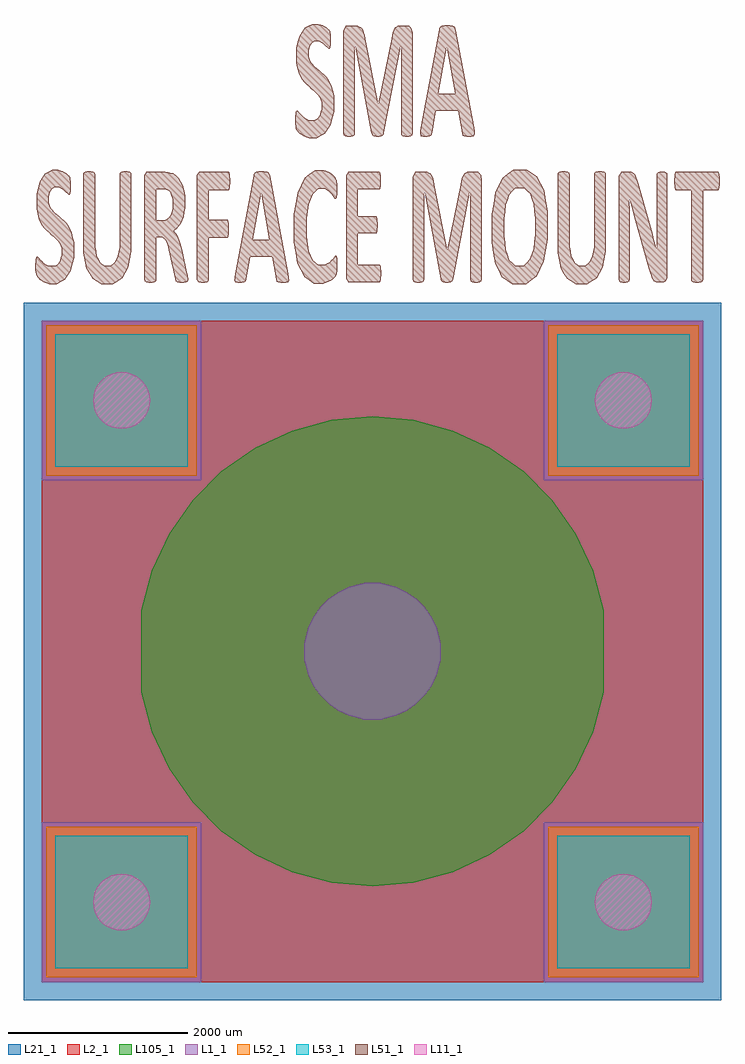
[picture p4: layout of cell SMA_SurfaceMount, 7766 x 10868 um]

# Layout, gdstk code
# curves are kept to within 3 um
import gdstk
lib = gdstk.Library(unit=1e-6, precision=1e-09)
def R(c, l, rs):  # rectangles x0, y0, x1, y1
    for r in rs: c.add(gdstk.rectangle(r[:2], r[2:], *l))
def P(c, l, *ps):  # polygons
    for p in ps: c.add(gdstk.Polygon(p, *l))
L1_1 = (1, 1)
L2_1 = (2, 1)
L11_1 = (11, 1)
L21_1 = (21, 1)
L51_1 = (51, 1)
L52_1 = (52, 1)
L53_1 = (53, 1)
L105_1 = (105, 1)

sma_surfacemount = lib.new_cell('SMA_SurfaceMount')
R(sma_surfacemount, L1_1, [(0,0,1778,1778), (5588,0,7366,1778), (0,5588,1778,7366), (5588,5588,7366,7366)])
P(sma_surfacemount, L1_1, [(6921.5,889),(6914.769,811.784),(6894.703,736.981),(6861.937,666.75),(6817.487,603.25),(6762.75,548.513),(6699.25,504.063),(6629.019,471.297),(6554.216,451.231),(6477,444.5),(6399.784,451.231),(6324.981,471.297),(6254.75,504.063),(6191.25,548.513),(6136.513,603.25),(6092.063,666.75),(6059.297,736.981),(6039.231,811.784),(6032.5,889),(6039.231,966.216),(6059.297,1041.019),(6092.063,1111.25),(6136.513,1174.75),(6191.25,1229.487),(6254.75,1273.937),(6324.981,1306.703),(6399.784,1326.769),(6477,1333.5),(6554.216,1326.769),(6629.019,1306.703),(6699.25,1273.937),(6762.75,1229.487),(6817.487,1174.75),(6861.937,1111.25),(6894.703,1041.019),(6914.769,966.216)],
  [(6921.5,6477),(6914.769,6399.784),(6894.703,6324.981),(6861.937,6254.75),(6817.487,6191.25),(6762.75,6136.513),(6699.25,6092.063),(6629.019,6059.297),(6554.216,6039.231),(6477,6032.5),(6399.784,6039.231),(6324.981,6059.297),(6254.75,6092.063),(6191.25,6136.513),(6136.513,6191.25),(6092.063,6254.75),(6059.297,6324.981),(6039.231,6399.784),(6032.5,6477),(6039.231,6554.216),(6059.297,6629.019),(6092.063,6699.25),(6136.513,6762.75),(6191.25,6817.487),(6254.75,6861.937),(6324.981,6894.703),(6399.784,6914.769),(6477,6921.5),(6554.216,6914.769),(6629.019,6894.703),(6699.25,6861.937),(6762.75,6817.487),(6817.487,6762.75),(6861.937,6699.25),(6894.703,6629.019),(6914.769,6554.216)],
  [(1333.5,6477),(1326.769,6399.784),(1306.703,6324.981),(1273.937,6254.75),(1229.487,6191.25),(1174.75,6136.513),(1111.25,6092.063),(1041.019,6059.297),(966.216,6039.231),(889,6032.5),(811.784,6039.231),(736.981,6059.297),(666.75,6092.063),(603.25,6136.513),(548.513,6191.25),(504.063,6254.75),(471.297,6324.981),(451.231,6399.784),(444.5,6477),(451.231,6554.216),(471.297,6629.019),(504.063,6699.25),(548.513,6762.75),(603.25,6817.487),(666.75,6861.937),(736.981,6894.703),(811.784,6914.769),(889,6921.5),(966.216,6914.769),(1041.019,6894.703),(1111.25,6861.937),(1174.75,6817.487),(1229.487,6762.75),(1273.937,6699.25),(1306.703,6629.019),(1326.769,6554.216)],
  [(1333.5,889),(1326.769,811.784),(1306.703,736.981),(1273.937,666.75),(1229.487,603.25),(1174.75,548.513),(1111.25,504.063),(1041.019,471.297),(966.216,451.231),(889,444.5),(811.784,451.231),(736.981,471.297),(666.75,504.063),(603.25,548.513),(548.513,603.25),(504.063,666.75),(471.297,736.981),(451.231,811.784),(444.5,889),(451.231,966.216),(471.297,1041.019),(504.063,1111.25),(548.513,1174.75),(603.25,1229.487),(666.75,1273.937),(736.981,1306.703),(811.784,1326.769),(889,1333.5),(966.216,1326.769),(1041.019,1306.703),(1111.25,1273.937),(1174.75,1229.487),(1229.487,1174.75),(1273.937,1111.25),(1306.703,1041.019),(1326.769,966.216)],
  [(4445,3771.9),(4445,3581.4),(4399.026,3422.396),(4342.892,3302),(4266.692,3193.161),(4172.839,3099.308),(4064,3023.108),(3943.604,2966.974),(3784.6,2921),(3581.4,2921),(3422.396,2966.974),(3302,3023.108),(3193.161,3099.308),(3099.308,3193.161),(3023.108,3302),(2966.974,3422.396),(2921,3581.4),(2921,3771.9),(2966.974,3943.604),(3023.108,4064),(3099.308,4172.839),(3193.161,4266.692),(3302,4342.892),(3422.396,4399.026),(3594.1,4445),(3771.9,4445),(3943.604,4399.026),(4064,4342.892),(4172.839,4266.692),(4266.692,4172.839),(4342.892,4064),(4399.026,3943.604)])
R(sma_surfacemount, L2_1, [(0,0,7366,7366)])
P(sma_surfacemount, L2_1, [(1333.5,889),(1326.769,811.784),(1306.703,736.981),(1273.937,666.75),(1229.487,603.25),(1174.75,548.513),(1111.25,504.063),(1041.019,471.297),(966.216,451.231),(889,444.5),(811.784,451.231),(736.981,471.297),(666.75,504.063),(603.25,548.513),(548.513,603.25),(504.063,666.75),(471.297,736.981),(451.231,811.784),(444.5,889),(451.231,966.216),(471.297,1041.019),(504.063,1111.25),(548.513,1174.75),(603.25,1229.487),(666.75,1273.937),(736.981,1306.703),(811.784,1326.769),(889,1333.5),(966.216,1326.769),(1041.019,1306.703),(1111.25,1273.937),(1174.75,1229.487),(1229.487,1174.75),(1273.937,1111.25),(1306.703,1041.019),(1326.769,966.216)],
  [(6921.5,889),(6914.769,811.784),(6894.703,736.981),(6861.937,666.75),(6817.487,603.25),(6762.75,548.513),(6699.25,504.063),(6629.019,471.297),(6554.216,451.231),(6477,444.5),(6399.784,451.231),(6324.981,471.297),(6254.75,504.063),(6191.25,548.513),(6136.513,603.25),(6092.063,666.75),(6059.297,736.981),(6039.231,811.784),(6032.5,889),(6039.231,966.216),(6059.297,1041.019),(6092.063,1111.25),(6136.513,1174.75),(6191.25,1229.487),(6254.75,1273.937),(6324.981,1306.703),(6399.784,1326.769),(6477,1333.5),(6554.216,1326.769),(6629.019,1306.703),(6699.25,1273.937),(6762.75,1229.487),(6817.487,1174.75),(6861.937,1111.25),(6894.703,1041.019),(6914.769,966.216)],
  [(6921.5,6477),(6914.769,6399.784),(6894.703,6324.981),(6861.937,6254.75),(6817.487,6191.25),(6762.75,6136.513),(6699.25,6092.063),(6629.019,6059.297),(6554.216,6039.231),(6477,6032.5),(6399.784,6039.231),(6324.981,6059.297),(6254.75,6092.063),(6191.25,6136.513),(6136.513,6191.25),(6092.063,6254.75),(6059.297,6324.981),(6039.231,6399.784),(6032.5,6477),(6039.231,6554.216),(6059.297,6629.019),(6092.063,6699.25),(6136.513,6762.75),(6191.25,6817.487),(6254.75,6861.937),(6324.981,6894.703),(6399.784,6914.769),(6477,6921.5),(6554.216,6914.769),(6629.019,6894.703),(6699.25,6861.937),(6762.75,6817.487),(6817.487,6762.75),(6861.937,6699.25),(6894.703,6629.019),(6914.769,6554.216)],
  [(1333.5,6477),(1326.769,6399.784),(1306.703,6324.981),(1273.937,6254.75),(1229.487,6191.25),(1174.75,6136.513),(1111.25,6092.063),(1041.019,6059.297),(966.216,6039.231),(889,6032.5),(811.784,6039.231),(736.981,6059.297),(666.75,6092.063),(603.25,6136.513),(548.513,6191.25),(504.063,6254.75),(471.297,6324.981),(451.231,6399.784),(444.5,6477),(451.231,6554.216),(471.297,6629.019),(504.063,6699.25),(548.513,6762.75),(603.25,6817.487),(666.75,6861.937),(736.981,6894.703),(811.784,6914.769),(889,6921.5),(966.216,6914.769),(1041.019,6894.703),(1111.25,6861.937),(1174.75,6817.487),(1229.487,6762.75),(1273.937,6699.25),(1306.703,6629.019),(1326.769,6554.216)])
P(sma_surfacemount, L11_1, [(1206.5,889),(1201.674,833.882),(1187.323,780.415),(1163.955,730.25),(1132.205,684.911),(1093.089,645.795),(1047.75,614.045),(997.585,590.677),(944.118,576.326),(889,571.5),(833.882,576.326),(780.415,590.677),(730.25,614.045),(684.911,645.795),(645.795,684.911),(614.045,730.25),(590.677,780.415),(576.326,833.882),(571.5,889),(576.326,944.118),(590.677,997.585),(614.045,1047.75),(645.795,1093.089),(684.911,1132.205),(730.25,1163.955),(780.415,1187.323),(833.882,1201.674),(889,1206.5),(944.118,1201.674),(997.585,1187.323),(1047.75,1163.955),(1093.089,1132.205),(1132.205,1093.089),(1163.955,1047.75),(1187.323,997.585),(1201.674,944.118)],
  [(6794.5,889),(6789.674,833.882),(6775.323,780.415),(6751.955,730.25),(6720.205,684.911),(6681.089,645.795),(6635.75,614.045),(6585.585,590.677),(6532.118,576.326),(6477,571.5),(6421.882,576.326),(6368.415,590.677),(6318.25,614.045),(6272.911,645.795),(6233.795,684.911),(6202.045,730.25),(6178.677,780.415),(6164.326,833.882),(6159.5,889),(6164.326,944.118),(6178.677,997.585),(6202.045,1047.75),(6233.795,1093.089),(6272.911,1132.205),(6318.25,1163.955),(6368.415,1187.323),(6421.882,1201.674),(6477,1206.5),(6532.118,1201.674),(6585.585,1187.323),(6635.75,1163.955),(6681.089,1132.205),(6720.205,1093.089),(6751.955,1047.75),(6775.323,997.585),(6789.674,944.118)],
  [(6794.5,6477),(6789.674,6421.882),(6775.323,6368.415),(6751.955,6318.25),(6720.205,6272.911),(6681.089,6233.795),(6635.75,6202.045),(6585.585,6178.677),(6532.118,6164.326),(6477,6159.5),(6421.882,6164.326),(6368.415,6178.677),(6318.25,6202.045),(6272.911,6233.795),(6233.795,6272.911),(6202.045,6318.25),(6178.677,6368.415),(6164.326,6421.882),(6159.5,6477),(6164.326,6532.118),(6178.677,6585.585),(6202.045,6635.75),(6233.795,6681.089),(6272.911,6720.205),(6318.25,6751.955),(6368.415,6775.323),(6421.882,6789.674),(6477,6794.5),(6532.118,6789.674),(6585.585,6775.323),(6635.75,6751.955),(6681.089,6720.205),(6720.205,6681.089),(6751.955,6635.75),(6775.323,6585.585),(6789.674,6532.118)],
  [(1206.5,6477),(1201.674,6421.882),(1187.323,6368.415),(1163.955,6318.25),(1132.205,6272.911),(1093.089,6233.795),(1047.75,6202.045),(997.585,6178.677),(944.118,6164.326),(889,6159.5),(833.882,6164.326),(780.415,6178.677),(730.25,6202.045),(684.911,6233.795),(645.795,6272.911),(614.045,6318.25),(590.677,6368.415),(576.326,6421.882),(571.5,6477),(576.326,6532.118),(590.677,6585.585),(614.045,6635.75),(645.795,6681.089),(684.911,6720.205),(730.25,6751.955),(780.415,6775.323),(833.882,6789.674),(889,6794.5),(944.118,6789.674),(997.585,6775.323),(1047.75,6751.955),(1093.089,6720.205),(1132.205,6681.089),(1163.955,6635.75),(1187.323,6585.585),(1201.674,6532.118)])
R(sma_surfacemount, L21_1, [(177.8,177.8,1778,1778), (5588,177.8,7188.2,1778), (177.8,5588,1778,7188.2), (5588,5588,7188.2,7188.2)])
P(sma_surfacemount, L21_1, [(-200,-200),(7566,-200),(7566,7566),(-200,7566),(-200,0)],
  [(3107.69,3581.527),(3133.979,3483.229),(3177.032,3390.9),(3235.452,3307.461),(3307.461,3235.452),(3390.9,3177.032),(3483.229,3133.979),(3581.527,3107.69),(3683,3098.8),(3784.473,3107.69),(3882.771,3133.979),(3975.1,3177.032),(4058.539,3235.452),(4130.548,3307.461),(4188.968,3390.9),(4232.021,3483.229),(4258.31,3581.527),(4267.2,3683),(4258.31,3784.473),(4232.021,3882.771),(4188.968,3975.1),(4130.548,4058.539),(4058.539,4130.548),(3975.1,4188.968),(3882.771,4232.021),(3784.473,4258.31),(3683,4267.2),(3581.527,4258.31),(3483.229,4232.021),(3390.9,4188.968),(3307.461,4130.548),(3235.452,4058.539),(3177.032,3975.1),(3133.979,3882.771),(3107.69,3784.473),(3098.8,3683)])
P(sma_surfacemount, L51_1, [(4129.024,10546.715),(4122.42,10607.294),(4109.593,10632.948),(4089.654,10646.156),(3966.591,10646.156),(3938.016,10631.932),(3917.061,10597.896),(3901.186,10542.905),(3744.341,9774.301),(3595.243,10544.81),(3578.86,10598.785),(3554.349,10631.932),(3520.694,10646.156),(3386.328,10646.156),(3358.769,10594.975),(3358.769,9444.482),(3364.357,9429.242),(3379.089,9419.844),(3403.6,9414.129),(3440.938,9414.129),(3464.941,9419.844),(3480.308,9429.242),(3485.896,9444.482),(3485.896,10451.973),(3673.348,9444.482),(3682.619,9429.242),(3698.367,9418.828),(3722.878,9414.129),(3782.187,9416.923),(3798.062,9426.448),(3807.206,9442.577),(4001.77,10451.973),(4001.77,9444.482),(4007.993,9429.242),(4022.217,9419.844),(4046.728,9414.129),(4084.066,9414.129),(4108.577,9419.844),(4123.436,9429.242),(4129.024,9444.482)],
  [(4898.009,8921.115),(4891.405,8981.694),(4878.705,9007.348),(4858.893,9020.556),(4736.338,9020.556),(4707.89,9006.332),(4687.062,8972.296),(4671.314,8917.305),(4515.231,8148.701),(4366.768,8919.21),(4350.512,8973.185),(4326.128,9006.332),(4292.6,9020.556),(4158.869,9020.556),(4131.437,8969.375),(4131.437,7818.882),(4137.025,7803.642),(4151.757,7794.244),(4176.141,7788.529),(4213.225,7788.529),(4237.101,7794.244),(4252.341,7803.642),(4257.929,7818.882),(4257.929,8826.373),(4444.619,7818.882),(4453.763,7803.642),(4469.511,7793.228),(4493.895,7788.529),(4552.823,7791.323),(4568.571,7800.848),(4577.715,7816.977),(4771.517,8826.373),(4771.517,7818.882),(4777.613,7803.642),(4791.837,7794.244),(4816.221,7788.529),(4853.305,7788.529),(4877.689,7794.244),(4892.421,7803.642),(4898.009,7818.882)],
  [(5633.212,8580.882),(5594.096,8814.943),(5517.261,8968.486),(5402.961,9042.4),(5249.926,9042.4),(5131.435,8953.373),(5051.044,8786.495),(5010.404,8548.624),(5010.404,8237.728),(5048.504,8000.873),(5124.831,7847.33),(5150.739,7830.312),(5150.739,8498.332),(5167.503,8652.891),(5208.143,8768.461),(5274.31,8837.676),(5372.354,8837.676),(5437.505,8776.081),(5476.621,8663.305),(5492.877,8505.063),(5492.877,8320.151),(5476.113,8163.814),(5435.473,8046.339),(5369.306,7978.013),(5270.754,7978.013),(5205.603,8037.83),(5166.995,8151.495),(5150.739,8311.642),(5150.739,7830.312),(5239.258,7772.4),(5393.69,7772.4),(5512.181,7860.538),(5592.572,8028.305),(5633.212,8268.97)],
  [(4610.227,10599.801),(4598.416,10638.663),(4578.477,10649.077),(4454.906,10649.077),(4436.999,10638.663),(4428.871,10618.724),(4215.892,9481.439),(4212.844,9441.561),(4223.004,9419.844),(4249.547,9414.129),(4295.013,9414.129),(4322.064,9417.939),(4336.923,9428.353),(4343.527,9446.387),(4387.469,9699.371),(4417.06,9699.371),(4417.06,9890.887),(4510.532,10412.095),(4604.639,9890.887),(4417.06,9890.887),(4417.06,9699.371),(4635.754,9699.371),(4682.236,9440.672),(4688.332,9425.432),(4703.699,9416.923),(4783.836,9414.129),(4812.538,9418.828),(4823.714,9438.767),(4814.57,9512.681)],
  [(2541.651,8974.201),(2529.967,9013.063),(2510.028,9023.477),(2387.092,9023.477),(2369.312,9013.063),(2361.057,8993.124),(2149.094,7855.839),(2146.046,7815.961),(2156.206,7794.244),(2182.622,7788.529),(2227.961,7788.529),(2254.885,7792.339),(2269.617,7802.753),(2276.221,7820.787),(2319.909,8073.771),(2349.373,8073.771),(2349.373,8265.287),(2442.464,8786.495),(2536.063,8265.287),(2349.373,8265.287),(2349.373,8073.771),(2567.051,8073.771),(2613.279,7815.072),(2619.375,7799.832),(2634.615,7791.323),(2714.498,7788.529),(2742.946,7793.228),(2754.122,7813.167),(2744.978,7887.081)],
  [(999.109,8986.52),(993.013,9011.158),(977.773,9020.556),(952.881,9026.271),(914.146,9026.271),(888.238,9020.556),(872.998,9011.158),(866.902,8995.918),(866.902,8183.753),(848.106,8082.28),(813.562,8013.192),(763.651,7977.124),(701.167,7977.124),(650.875,8012.176),(614.68,8082.28),(595.376,8189.468),(595.376,8995.918),(588.772,9011.158),(573.532,9020.556),(548.132,9026.271),(509.016,9026.271),(483.616,9020.556),(467.868,9011.158),(461.772,8995.918),(461.772,8123.047),(497.84,7947.787),(565.912,7830.185),(664.591,7772.4),(792.734,7772.4),(894.334,7836.789),(963.549,7960.106),(999.109,8138.287)],
  [(6282.436,8986.52),(6276.34,9011.158),(6261.1,9020.556),(6236.208,9026.271),(6197.6,9026.271),(6171.565,9020.556),(6156.325,9011.158),(6150.229,8995.918),(6150.229,8183.753),(6131.433,8082.28),(6096.889,8013.192),(6047.105,7977.124),(5984.494,7977.124),(5934.202,8012.176),(5898.134,8082.28),(5878.83,8189.468),(5878.83,8995.918),(5872.099,9011.158),(5856.859,9020.556),(5831.459,9026.271),(5792.343,9026.271),(5766.943,9020.556),(5751.195,9011.158),(5745.099,8995.918),(5745.099,8123.047),(5781.167,7947.787),(5849.239,7830.185),(5947.918,7772.4),(6076.061,7772.4),(6177.661,7836.789),(6246.876,7960.106),(6282.436,8138.287)],
  [(6967.728,8983.599),(6962.648,9008.237),(6949.948,9019.667),(6926.58,9024.366),(6867.652,9019.667),(6853.428,9008.237),(6847.332,8993.124),(6850.38,8132.572),(6767.957,8444.357),(6630.162,8929.624),(6611.874,8979.789),(6591.046,9008.237),(6564.63,9020.556),(6453.251,9020.556),(6425.311,8976.106),(6425.311,7819.771),(6430.391,7804.658),(6443.599,7794.244),(6466.967,7788.529),(6514.846,7791.323),(6540.246,7804.658),(6545.834,7819.771),(6545.834,8542.909),(6541.77,8746.744),(6598.158,8521.192),(6794.881,7840.599),(6816.725,7805.547),(6842.76,7792.339),(6927.088,7792.339),(6945.884,7802.753),(6959.6,7825.486),(6967.728,7859.649)],
  [(3291.967,8014.081),(3285.871,8077.581),(3279.775,8085.201),(3268.091,8085.201),(3207.131,8016.875),(3155.188,7985.633),(3080.512,7985.633),(3018.028,8035.925),(2973.705,8138.287),(2949.829,8296.529),(2949.829,8503.158),(2972.181,8660.511),(3015.488,8771.382),(3076.956,8831.072),(3151.632,8831.072),(3203.067,8797.925),(3263.519,8724.011),(3275.711,8724.011),(3282.823,8735.314),(3287.903,8759.952),(3288.411,8890.762),(3280.283,8934.323),(3266.567,8959.977),(3232.023,8995.918),(3188.843,9023.477),(3137.916,9040.495),(3042.92,9040.495),(2930.525,8955.151),(2850.261,8790.305),(2805.43,8547.608),(2805.43,8237.728),(2846.07,8006.461),(2922.397,7852.029),(3031.236,7774.305),(3133.344,7774.305),(3192.907,7795.133),(3239.135,7826.375),(3271.139,7860.538),(3287.395,7899.4)],
  [(7548.88,8946.642),(7546.34,8986.52),(7541.26,9010.142),(7533.64,9020.556),(7060.311,9020.556),(7053.199,9010.142),(7048.119,8986.52),(7045.579,8890.762),(7048.119,8851.9),(7053.199,8828.151),(7060.311,8816.848),(7230.11,8816.848),(7230.11,7818.882),(7236.714,7803.642),(7251.954,7794.244),(7277.862,7788.529),(7329.551,7791.323),(7357.745,7803.642),(7364.349,7818.882),(7364.349,8816.848),(7533.64,8816.848),(7541.26,8828.151),(7546.34,8851.9)],
  [(1630.045,7835.9),(1552.194,8190.357),(1531.874,8259.572),(1509.014,8313.547),(1483.106,8351.52),(1468.374,8364.728),(1498.854,8382.762),(1546.606,8441.563),(1579.245,8521.192),(1596.009,8622.538),(1596.009,8757.158),(1572.641,8869.934),(1528.318,8952.357),(1464.818,9003.538),(1377.823,9020.556),(1164.844,9020.556),(1141.984,8983.599),(1141.984,7818.882),(1148.08,7803.642),(1163.32,7794.244),(1189.228,7788.529),(1228.344,7788.529),(1253.871,7794.244),(1269.111,7803.642),(1275.715,7818.882),(1275.715,8830.056),(1358.519,8830.056),(1384.427,8824.468),(1428.242,8802.624),(1457.706,8719.185),(1457.706,8618.728),(1443.482,8554.339),(1415.034,8507.857),(1372.235,8482.33),(1275.715,8482.33),(1275.715,8295.513),(1338.707,8295.513),(1371.219,8270.875),(1396.111,8222.615),(1416.558,8150.606),(1494.282,7802.753),(1509.014,7792.339),(1534.414,7788.529),(1610.741,7792.339),(1625.981,7801.737)],
  [(3256.026,9861.423),(3231.515,9970.389),(3191.637,10051.034),(3140.583,10108.819),(3036.443,10195.052),(2996.057,10241.534),(2972.054,10301.224),(2972.054,10369.423),(2982.722,10418.699),(3004.693,10453.751),(3037.459,10473.69),(3087.497,10473.69),(3134.487,10448.163),(3194.685,10390.251),(3205.988,10390.251),(3212.592,10401.681),(3217.672,10464.292),(3216.656,10549.509),(3210.56,10584.561),(3200.4,10603.611),(3168.65,10631.932),(3127.883,10654.792),(3080.893,10668),(3011.932,10668),(2930.652,10624.439),(2870.835,10536.301),(2835.656,10402.57),(2835.656,10237.724),(2860.167,10127.742),(2899.537,10047.224),(2949.575,9989.439),(3052.699,9903.206),(3092.069,9856.724),(3116.58,9797.034),(3116.58,9719.31),(3102.229,9660.509),(3075.178,9620.758),(3036.443,9598.914),(2974.594,9598.914),(2917.825,9630.156),(2851.023,9699.371),(2838.704,9699.371),(2831.084,9688.957),(2824.353,9624.568),(2824.353,9551.543),(2830.068,9505.061),(2843.276,9480.423),(2873.502,9448.292),(2918.333,9418.828),(2977.134,9398),(3061.97,9398),(3150.87,9447.276),(3217.164,9544.939),(3256.026,9690.862)],
  [(360.045,8235.823),(335.661,8344.789),(295.91,8425.434),(245.11,8483.219),(141.478,8569.452),(101.219,8615.934),(77.343,8675.624),(77.343,8743.823),(88.011,8793.099),(109.855,8828.151),(142.494,8848.09),(192.278,8848.09),(239.014,8822.563),(299.085,8764.651),(310.261,8764.651),(316.865,8776.081),(321.945,8838.692),(320.929,8923.909),(314.833,8958.961),(304.673,8978.011),(273.05,9006.332),(232.41,9029.192),(185.674,9042.4),(116.967,9042.4),(36.195,8998.839),(-23.368,8910.701),(-58.42,8776.97),(-58.42,8612.124),(-34.036,8502.142),(5.207,8421.624),(54.991,8363.839),(157.734,8277.606),(196.85,8231.124),(221.234,8171.434),(221.234,8093.71),(207.01,8034.909),(180.086,7995.158),(141.478,7973.314),(79.883,7973.314),(23.495,8004.556),(-43.18,8073.771),(-55.372,8073.771),(-62.992,8063.357),(-69.596,7998.968),(-69.596,7925.943),(-64.008,7879.461),(-50.8,7854.823),(-20.701,7822.692),(24.003,7793.228),(82.423,7772.4),(166.878,7772.4),(255.27,7821.676),(321.437,7919.339),(360.045,8065.262)],
  [(3777.996,7919.339),(3775.456,7956.296),(3770.376,7979.029),(3762.756,7989.443),(3521.329,7989.443),(3521.329,8335.391),(3724.656,8335.391),(3732.276,8344.789),(3737.356,8366.633),(3739.896,8402.701),(3737.356,8493.633),(3732.276,8515.477),(3724.656,8525.891),(3521.329,8525.891),(3521.329,8825.357),(3760.724,8825.357),(3767.836,8835.771),(3772.916,8858.504),(3775.456,8895.461),(3775.456,8950.452),(3767.836,9011.158),(3760.724,9020.556),(3410.966,9020.556),(3388.106,8983.599),(3388.106,7831.201),(3410.966,7794.244),(3762.756,7794.244),(3770.376,7804.658),(3775.456,7827.391)],
  [(2097.278,8946.642),(2094.738,8986.52),(2089.15,9010.142),(2082.038,9020.556),(1751.076,9020.556),(1728.089,8983.599),(1728.089,7819.771),(1734.82,7804.658),(1750.06,7794.244),(1775.968,7788.529),(1827.784,7791.323),(1856.232,7804.658),(1862.328,7819.771),(1862.328,8287.004),(2068.83,8287.004),(2075.942,8297.418),(2081.53,8322.056),(2081.53,8454.771),(2075.942,8477.504),(2068.83,8487.029),(1862.328,8487.029),(1862.328,8816.848),(2082.038,8816.848),(2094.738,8851.011)])
R(sma_surfacemount, L52_1, [(50.8,50.8,1727.2,1727.2), (5638.8,50.8,7315.2,1727.2), (50.8,5638.8,1727.2,7315.2), (5638.8,5638.8,7315.2,7315.2)])
R(sma_surfacemount, L53_1, [(150.8,150.8,1627.2,1627.2), (5738.8,150.8,7215.2,1627.2), (150.8,5738.8,1627.2,7215.2), (5738.8,5738.8,7215.2,7215.2)])
P(sma_surfacemount, L105_1, [(1106.551,3228.721),(1106.551,4137.279),(1224.534,4577.842),(1417.32,4991.1),(1678.813,5364.607),(2001.393,5687.187),(2374.9,5948.68),(2788.158,6141.466),(3228.721,6259.449),(3683,6299.2),(4137.279,6259.449),(4577.842,6141.466),(4991.1,5948.68),(5364.607,5687.187),(5687.187,5364.607),(5948.68,4991.1),(6141.466,4577.842),(6259.449,4137.279),(6259.449,3228.721),(6141.466,2788.158),(5948.68,2374.9),(5687.187,2001.393),(5364.607,1678.813),(4991.1,1417.32),(4577.842,1224.534),(4137.279,1106.551),(3683,1066.8),(3228.721,1106.551),(2788.158,1224.534),(2374.9,1417.32),(2001.393,1678.813),(1678.813,2001.393),(1417.32,2374.9),(1224.534,2788.158)])

lib.write_gds('SMA_SurfaceMount.gds')
